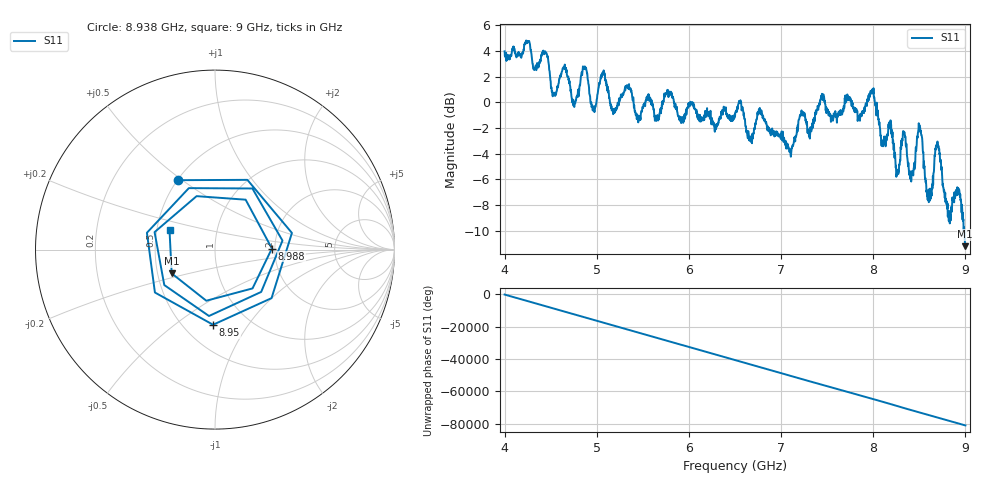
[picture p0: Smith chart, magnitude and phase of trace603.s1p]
! Created with skrf 1.8.0 (http://scikit-rf.org).
# Hz S RI R 50.0
!freq ReS11 ImS11
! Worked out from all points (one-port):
!   1601 points, 4 GHz to 9 GHz, reference 50 ohm
!   lowest |S11| = -11.2 dB at 8.997 GHz (marker M1), VSWR 1.76, Z = 29.7 - j8.52 ohm
!   |S11| at or under -10 dB: 8.980889 GHz to 8.981336 GHz (447.2 kHz wide, 0.00498 % of centre); 8.98815 GHz to end of sweep
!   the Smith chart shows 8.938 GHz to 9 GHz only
!   S11 on the Smith chart (normalised r, x): 8.938 GHz: 0.50, +0.48; 8.95 GHz: 0.69, -0.70; 8.988 GHz: 1.93, +0.03; 9 GHz: 0.58, +0.14
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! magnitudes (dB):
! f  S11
! 4 GHz  4.0
! 4.438 GHz  3.9
! 4.538 GHz  0.6
! 4.625 GHz  2.4
! 4.75 GHz  0.0
! 4.869 GHz  2.8
! 4.959 GHz  -0.4
! 5.062 GHz  2.3
! 5.25 GHz  0.2
! 5.875 GHz  -0.8
! 6.5 GHz  -1.1
! 7.125 GHz  -3.3
! 7.228 GHz  -0.8
! 7.75 GHz  0.4
! 7.991 GHz  0.8
! 8.262 GHz  -5.5
! 8.325 GHz  -2.2
! 8.375 GHz  -4.7
! 8.431 GHz  -5.5
! 8.506 GHz  -1.8
! 8.603 GHz  -7.8
! 8.697 GHz  -3.1
! 8.816 GHz  -8.7
! 8.938 GHz  -7.1
! 8.95 GHz  -7.6
! 8.988 GHz  -10.0
! 8.997 GHz  -11.2
! 9 GHz  -11.2
